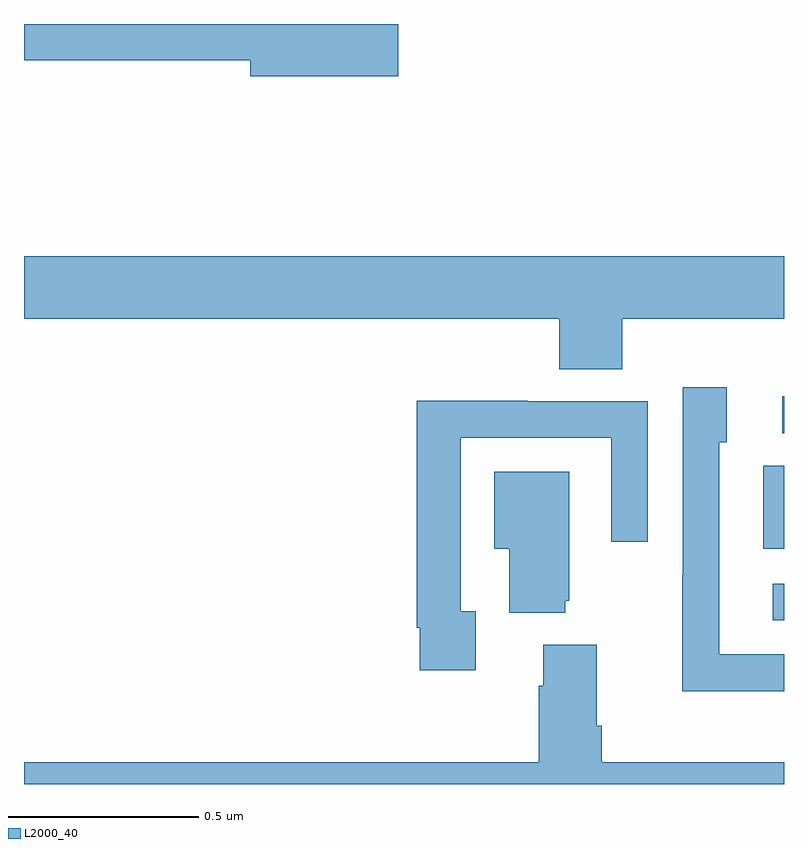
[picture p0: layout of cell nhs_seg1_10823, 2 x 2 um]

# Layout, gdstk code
import gdstk
lib = gdstk.Library(unit=1e-6, precision=1e-09)
def R(c, l, rs):  # rectangles x0, y0, x1, y1
    for r in rs: c.add(gdstk.rectangle(r[:2], r[2:], *l))
def P(c, l, *ps):  # polygons
    for p in ps: c.add(gdstk.Polygon(p, *l))
L2000_40 = (2000, 40)

nhs_seg1_10823 = lib.new_cell('nhs_seg1_10823')
R(nhs_seg1_10823, L2000_40, [(247.971,525.63,248,525.726), (247.946,525.818,248,526.037), (247.995,526.122,248,526.22)])
P(nhs_seg1_10823, L2000_40, [(246.985,527.199),(246,527.199),(246,527.104),(246.596,527.104),(246.596,527.062),(246.985,527.062)],
  [(247.574,526.424),(248,526.424),(248,526.588),(246,526.588),(246,526.424),(247.409,526.424),(247.409,526.291),(247.574,526.291)],
  [(248,525.54),(247.83,525.54),(247.83,526.098),(247.849,526.098),(247.849,526.243),(247.734,526.243),(247.734,525.749),(247.732,525.749),(247.732,525.443),(248,525.443)],
  [(247.189,525.654),(247.149,525.654),(247.149,526.11),(247.545,526.11),(247.545,525.837),(247.641,525.837),(247.641,526.206),(247.325,526.206),(247.325,526.208),(247.033,526.208),(247.033,525.61),(247.041,525.61),(247.041,525.498),(247.189,525.498)],
  [(247.424,525.681),(247.435,525.681),(247.435,526.021),(247.238,526.021),(247.238,525.818),(247.277,525.818),(247.277,525.65),(247.424,525.65)],
  [(247.52,525.352),(247.507,525.352),(247.507,525.565),(247.367,525.565),(247.367,525.458),(247.355,525.458),(247.355,525.256),(246,525.256),(246,525.199),(248,525.199),(248,525.256),(247.52,525.256)])

lib.write_gds('nhs_seg1_10823.gds')
